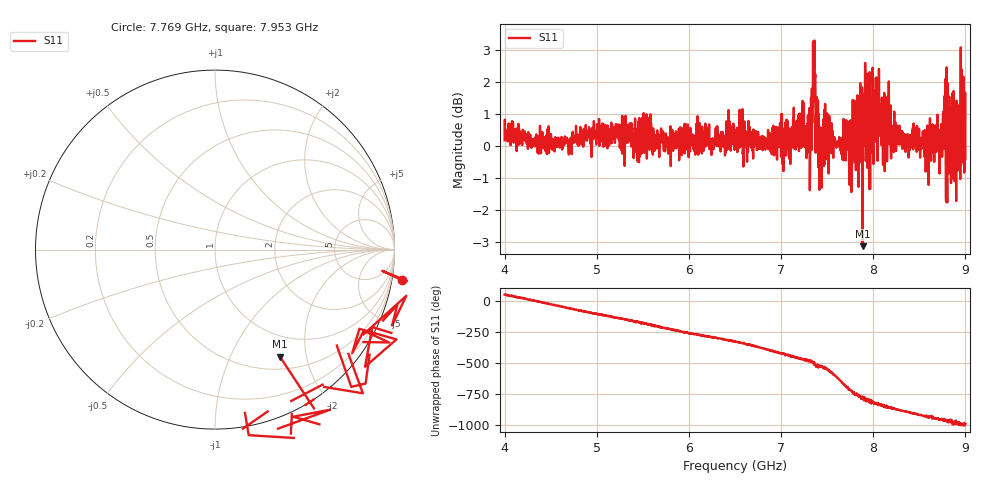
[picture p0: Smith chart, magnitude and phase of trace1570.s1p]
! Created with skrf 1.8.0 (http://scikit-rf.org).
# Hz S RI R 50.0
!freq ReS11 ImS11
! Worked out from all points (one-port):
!   1601 points, 4 GHz to 9 GHz, reference 50 ohm
!   lowest |S11| = -3.1 dB at 7.884 GHz (marker M1), VSWR 5.63, Z = 33.6 - j78.2 ohm
!   |S11| at or under -10 dB: nowhere
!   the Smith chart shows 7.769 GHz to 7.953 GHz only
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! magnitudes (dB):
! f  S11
! 4 GHz  0.2
! 4.625 GHz  -0.1
! 5.25 GHz  -0.1
! 5.875 GHz  0.2
! 6.5 GHz  0.5
! 7.125 GHz  0.2
! 7.297 GHz  0.9
! 7.359 GHz  2.4
! 7.381 GHz  1.0
! 7.4 GHz  1.4
! 7.438 GHz  -1.3
! 7.525 GHz  0.8
! 7.75 GHz  -0.5
! 7.884 GHz  -3.1
! 7.909 GHz  1.1
! 7.922 GHz  0.1
! 7.981 GHz  0.9
! 8.05 GHz  1.9
! 8.197 GHz  0.3
! 8.375 GHz  0.1
! 8.441 GHz  0.0
! 8.581 GHz  -0.1
! 8.634 GHz  -0.1
! 8.725 GHz  0.4
! 8.759 GHz  1.1
! 8.906 GHz  -0.2
! 8.959 GHz  2.4
! 9 GHz  -0.4
